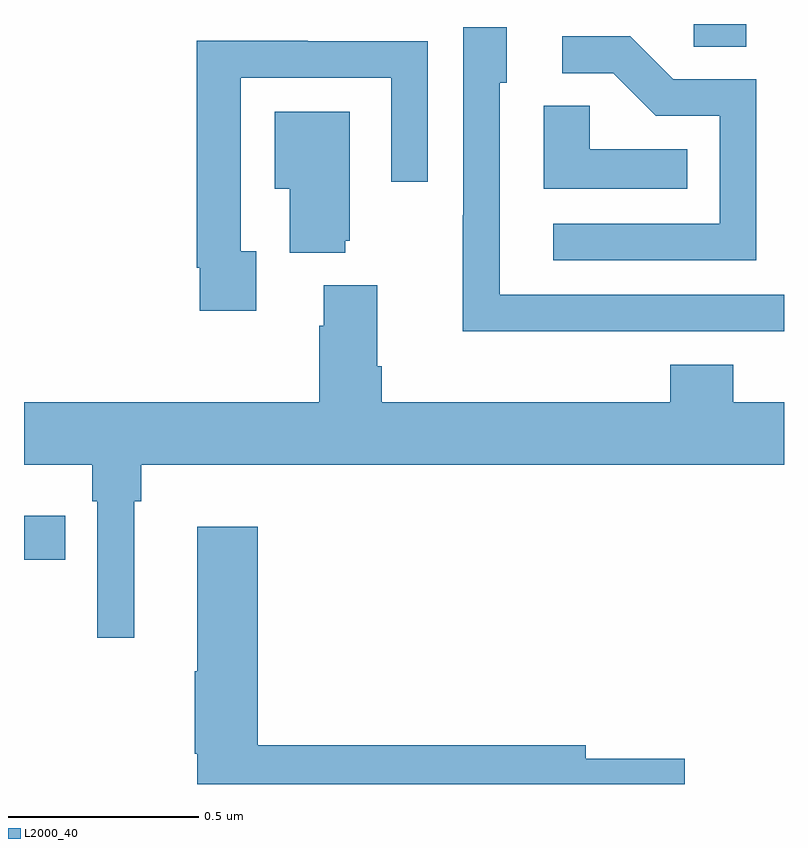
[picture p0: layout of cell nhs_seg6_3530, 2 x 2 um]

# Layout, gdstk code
import gdstk
lib = gdstk.Library(unit=1e-6, precision=1e-09)
def R(c, l, rs):  # rectangles x0, y0, x1, y1
    for r in rs: c.add(gdstk.rectangle(r[:2], r[2:], *l))
def P(c, l, *ps):  # polygons
    for p in ps: c.add(gdstk.Polygon(p, *l))
L2000_40 = (2000, 40)

nhs_seg6_3530 = lib.new_cell('nhs_seg6_3530')
R(nhs_seg6_3530, L2000_40, [(158,943.09,158.108,943.206), (159.762,944.44,159.901,944.5)])
P(nhs_seg6_3530, L2000_40, [(159.617,943.692),(160,943.692),(160,943.788),(159.252,943.788),(159.252,944.346),(159.271,944.346),(159.271,944.491),(159.156,944.491),(159.156,943.997),(159.154,943.997),(159.154,943.691),(159.617,943.691)],
  [(159.927,944.355),(159.708,944.355),(159.595,944.468),(159.417,944.468),(159.417,944.37),(159.551,944.37),(159.662,944.259),(159.831,944.259),(159.831,943.974),(159.393,943.974),(159.393,943.878),(159.927,943.878)],
  [(158.611,943.902),(158.571,943.902),(158.571,944.358),(158.967,944.358),(158.967,944.085),(159.063,944.085),(159.063,944.454),(158.747,944.454),(158.747,944.456),(158.455,944.456),(158.455,943.858),(158.463,943.858),(158.463,943.746),(158.611,943.746)],
  [(159.746,944.17),(159.489,944.17),(159.489,944.285),(159.368,944.285),(159.368,944.066),(159.746,944.066)],
  [(158.846,943.929),(158.857,943.929),(158.857,944.269),(158.66,944.269),(158.66,944.066),(158.699,944.066),(158.699,943.898),(158.846,943.898)],
  [(158.29,943.244),(158.309,943.244),(158.309,943.34),(160,943.34),(160,943.504),(159.866,943.504),(159.866,943.603),(159.701,943.603),(159.701,943.504),(158.942,943.504),(158.942,943.6),(158.929,943.6),(158.929,943.813),(158.789,943.813),(158.789,943.706),(158.777,943.706),(158.777,943.504),(158,943.504),(158,943.34),(158.18,943.34),(158.18,943.244),(158.193,943.244),(158.193,942.885),(158.29,942.885)],
  [(159.739,942.566),(159.478,942.566),(159.478,942.602),(158.615,942.602),(158.615,943.177),(158.456,943.177),(158.456,942.797),(158.449,942.797),(158.449,942.579),(158.456,942.579),(158.456,942.5),(159.739,942.5)])

lib.write_gds('nhs_seg6_3530.gds')
